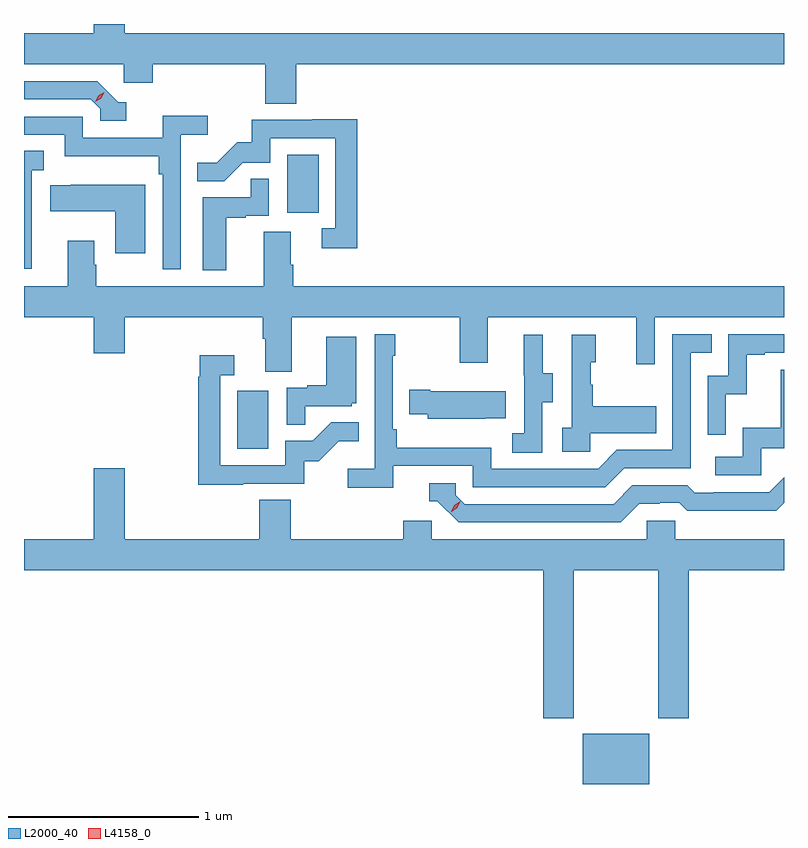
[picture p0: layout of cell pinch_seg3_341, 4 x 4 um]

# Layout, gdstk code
import gdstk
lib = gdstk.Library(unit=1e-6, precision=1e-09)
def R(c, l, rs):  # rectangles x0, y0, x1, y1
    for r in rs: c.add(gdstk.rectangle(r[:2], r[2:], *l))
def P(c, l, *ps):  # polygons
    for p in ps: c.add(gdstk.Polygon(p, *l))
L2000_40 = (2000, 40)
L4158_0 = (4158, 0)

pinch_seg3_341 = lib.new_cell('pinch_seg3_341')
R(pinch_seg3_341, L2000_40, [(958.79,723.768,959.14,724.033), (956.972,725.532,957.136,725.839), (957.236,726.774,957.4,727.081)])
P(pinch_seg3_341, L2000_40, [(957.284,727.556),(959.85,727.556),(959.85,727.72),(956.38,727.72),(956.38,727.768),(956.216,727.768),(956.216,727.72),(955.85,727.72),(955.85,727.556),(956.376,727.556),(956.376,727.458),(956.528,727.458),(956.528,727.556),(957.119,727.556),(957.119,727.348),(957.284,727.348)],
  [(956.389,727.356),(956.346,727.356),(956.235,727.467),(955.85,727.467),(955.85,727.371),(956.202,727.371),(956.25,727.323),(956.25,727.26),(956.389,727.26)],
  [(956.676,727.184),(956.818,727.184),(956.818,727.286),(956.579,727.286),(956.579,727.17),(956.16,727.17),(956.16,727.281),(955.85,727.281),(955.85,727.185),(956.064,727.185),(956.064,727.073),(956.56,727.073),(956.56,726.977),(956.58,726.977),(956.58,726.477),(956.676,726.477)],
  [(957.605,727.268),(957.367,727.268),(957.367,727.263),(957.049,727.263),(957.049,727.146),(956.972,727.146),(956.865,727.039),(956.761,727.039),(956.761,726.94),(956.904,726.94),(957.002,727.038),(957.147,727.038),(957.147,727.167),(957.489,727.167),(957.489,726.693),(957.417,726.693),(957.417,726.588),(957.605,726.588)],
  [(955.892,726.693),(955.89,726.693),(955.89,726.997),(955.954,726.997),(955.954,727.1),(955.85,727.1),(955.85,726.48),(955.892,726.48)],
  [(956.914,726.747),(957.017,726.747),(957.017,726.759),(957.138,726.759),(957.138,726.953),(957.043,726.953),(957.043,726.855),(956.792,726.855),(956.792,726.473),(956.914,726.473)],
  [(956.488,726.922),(956.095,726.922),(956.095,726.919),(955.987,726.919),(955.987,726.782),(956.33,726.782),(956.33,726.561),(956.488,726.561)],
  [(957.259,726.224),(958.144,726.224),(958.144,725.985),(958.291,725.985),(958.291,726.224),(959.072,726.224),(959.072,725.976),(959.169,725.976),(959.169,726.224),(959.85,726.224),(959.85,726.388),(957.266,726.388),(957.266,726.5),(957.253,726.5),(957.253,726.674),(957.113,726.674),(957.113,726.388),(956.229,726.388),(956.229,726.5),(956.221,726.5),(956.221,726.628),(956.081,726.628),(956.081,726.388),(955.85,726.388),(955.85,726.224),(956.216,726.224),(956.216,726.036),(956.38,726.036),(956.38,726.224),(957.107,726.224),(957.107,726.112),(957.119,726.112),(957.119,725.938),(957.259,725.938)],
  [(957.794,725.442),(958.212,725.442),(958.212,725.331),(958.909,725.331),(959.008,725.43),(959.358,725.43),(959.358,726.039),(959.471,726.039),(959.471,726.135),(959.262,726.135),(959.262,725.526),(958.971,725.526),(958.872,725.427),(958.308,725.427),(958.308,725.539),(957.812,725.539),(957.812,725.635),(957.792,725.635),(957.792,726.023),(957.805,726.023),(957.805,726.136),(957.696,726.136),(957.696,725.428),(957.555,725.428),(957.555,725.326),(957.794,725.326)],
  [(959.544,725.819),(959.654,725.819),(959.654,726.027),(959.749,726.027),(959.749,726.039),(959.85,726.039),(959.85,726.135),(959.556,726.135),(959.556,725.916),(959.448,725.916),(959.448,725.607),(959.544,725.607)],
  [(958.83,725.615),(959.177,725.615),(959.177,725.755),(958.843,725.755),(958.843,725.87),(958.833,725.87),(958.833,725.988),(958.858,725.988),(958.858,726.133),(958.734,726.133),(958.734,725.642),(958.683,725.642),(958.683,725.517),(958.83,725.517)],
  [(958.578,725.776),(958.633,725.776),(958.633,725.931),(958.579,725.931),(958.579,726.133),(958.481,726.133),(958.481,725.919),(958.482,725.919),(958.482,725.615),(958.419,725.615),(958.419,725.512),(958.578,725.512)],
  [(957.329,725.757),(957.576,725.757),(957.576,725.772),(957.598,725.772),(957.598,726.121),(957.44,726.121),(957.44,725.866),(957.341,725.866),(957.341,725.853),(957.234,725.853),(957.234,725.659),(957.329,725.659)],
  [(957.005,725.349),(957.324,725.349),(957.324,725.466),(957.4,725.466),(957.507,725.573),(957.611,725.573),(957.611,725.672),(957.467,725.672),(957.369,725.574),(957.225,725.574),(957.225,725.445),(956.883,725.445),(956.883,725.919),(956.956,725.919),(956.956,726.025),(956.775,726.025),(956.775,725.912),(956.767,725.912),(956.767,725.344),(957.005,725.344)],
  [(959.73,725.535),(959.85,725.535),(959.85,725.947),(959.833,725.947),(959.833,725.644),(959.634,725.644),(959.634,725.49),(959.487,725.49),(959.487,725.394),(959.73,725.394)],
  [(958.277,725.693),(958.385,725.693),(958.385,725.836),(957.988,725.836),(957.988,725.844),(957.877,725.844),(957.877,725.714),(957.975,725.714),(957.975,725.69),(958.277,725.69)],
  [(958.743,724.892),(959.188,724.892),(959.188,724.113),(959.348,724.113),(959.348,724.892),(959.85,724.892),(959.85,725.056),(959.277,725.056),(959.277,725.154),(959.127,725.154),(959.127,725.056),(957.996,725.056),(957.996,725.154),(957.845,725.154),(957.845,725.056),(957.254,725.056),(957.254,725.264),(957.089,725.264),(957.089,725.056),(956.38,725.056),(956.38,725.431),(956.216,725.431),(956.216,725.056),(955.85,725.056),(955.85,724.892),(958.583,724.892),(958.583,724.113),(958.743,724.113)],
  [(959.089,725.244),(959.196,725.244),(959.196,725.247),(959.299,725.247),(959.341,725.205),(959.574,725.205),(959.574,725.207),(959.81,725.207),(959.85,725.247),(959.85,725.382),(959.772,725.304),(959.479,725.304),(959.479,725.301),(959.38,725.301),(959.341,725.34),(959.052,725.34),(958.953,725.241),(958.17,725.241),(958.122,725.289),(958.122,725.352),(957.983,725.352),(957.983,725.256),(958.026,725.256),(958.137,725.145),(958.99,725.145)])
P(pinch_seg3_341, L4158_0, [(956.225,727.359),(956.225,727.359),(956.242,727.391),(956.272,727.409),(956.273,727.409),(956.273,727.409),(956.256,727.377),(956.225,727.359)],
  [(958.099,725.202),(958.099,725.203),(958.115,725.236),(958.145,725.256),(958.146,725.256),(958.146,725.255),(958.13,725.222),(958.1,725.202)])

lib.write_gds('pinch_seg3_341.gds')
